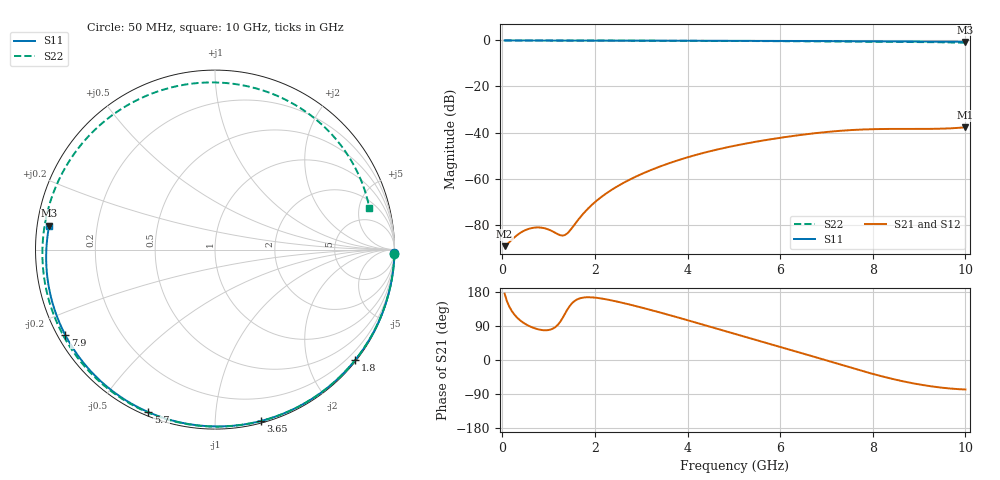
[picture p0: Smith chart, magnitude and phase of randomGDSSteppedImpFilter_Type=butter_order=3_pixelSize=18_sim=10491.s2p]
! freq	dB(S11)	phase(S11)	dB(S12)	phase(S12)
!  dB(S21)	phase(S21)	dB(S22)	phase(S22)
!S-par simulation data
#  GHz  S  DB  R 50
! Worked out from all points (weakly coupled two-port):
!   200 points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, 50 MHz to 10 GHz, reference 50 ohm
!   highest |S21| = -37.72 dB at 10 GHz (marker M1); lowest = -89.4 dB at 50 MHz (marker M2)
!   lowest |S11| = -0.6 dB at 10 GHz (marker M3), VSWR 29.03, Z = 1.73 + j3.6 ohm
!   |S11| at or under -10 dB: nowhere
!   |S22| runs from -1.0 to 0.0 dB; largest |S21 - S12| = 0
!   S11 on the Smith chart (normalised r, x): 50 MHz: open; 1.8 GHz: 0.03, -2.89; 3.65 GHz: 0.02, -1.30; 5.7 GHz: 0.02, -0.67; 7.9 GHz: 0.02, -0.27; 10 GHz: 0.03, +0.07
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0.05  -0.00 -1.1  -89.37 175.2  -89.37 175.2  -0.00 -1.4
0.75  -0.02 -16.1  -81.24 81.8  -81.24 81.8  -0.03 -21.4
1.55  -0.04 -33.0  -80.26 154.6  -80.26 154.6  -0.06 -43.9
1.75  -0.05 -37.2  -75.21 164.7  -75.21 164.7  -0.06 -49.4
1.8  -0.05 -38.2  -74.10 165.4  -74.10 165.4  -0.06 -50.8
2.1  -0.06 -44.4  -68.60 163.1  -68.60 163.1  -0.07 -59.1
2.45  -0.07 -51.5  -63.79 154.9  -63.79 154.9  -0.09 -68.7
2.9  -0.08 -60.4  -59.00 141.7  -59.00 141.7  -0.10 -81.0
3.4  -0.09 -70.2  -54.80 125.6  -54.80 125.6  -0.13 -94.5
3.65  -0.10 -74.9  -53.00 117.2  -53.00 117.2  -0.14 -101.3
4.35  -0.12 -88.1  -48.82 92.7  -48.82 92.7  -0.18 -120.5
5.05  -0.15 -100.8  -45.60 67.8  -45.60 67.8  -0.22 -140.2
5.7  -0.19 -112.3  -43.24 45.0  -43.24 45.0  -0.28 -159.5
6.2  -0.22 -121.0  -41.71 27.5  -41.71 27.5  -0.33 -175.3
6.7  -0.25 -129.6  -40.41 9.7  -40.41 9.7  -0.38 167.7
7.3  -0.30 -139.9  -39.24 -12.1  -39.24 -12.1  -0.46 145.4
7.9  -0.35 -150.2  -38.60 -33.3  -38.60 -33.3  -0.53 120.6
8.35  -0.40 -158.0  -38.44 -47.7  -38.44 -47.7  -0.59 100.2
8.75  -0.44 -165.1  -38.43 -58.7  -38.43 -58.7  -0.64 80.8
9.15  -0.49 -172.3  -38.43 -67.4  -38.43 -67.4  -0.71 60.3
9.6  -0.54 179.4  -38.24 -74.5  -38.24 -74.5  -0.83 36.5
10  -0.60 171.8  -37.72 -77.8  -37.72 -77.8  -1.00 15.0
